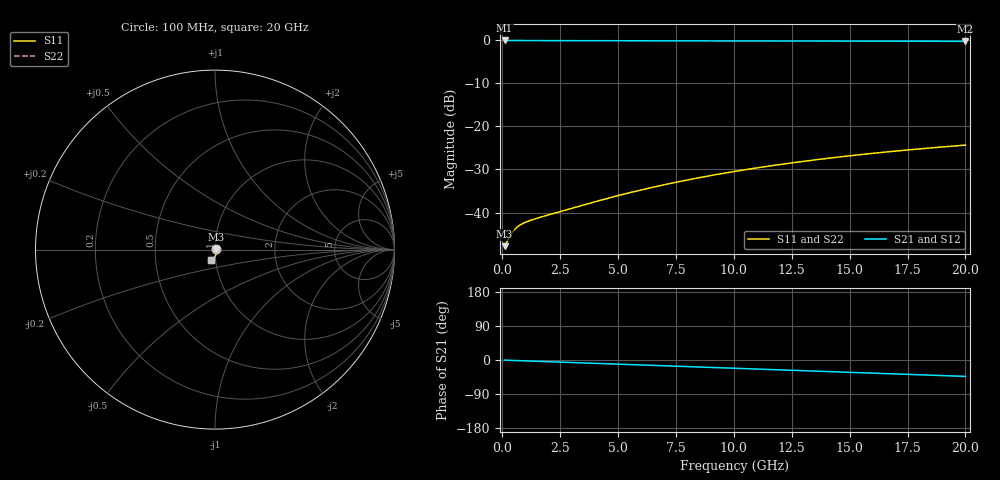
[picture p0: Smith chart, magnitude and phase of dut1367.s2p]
! Touchstone file exported from HFSS 2026.1.0
!  File:  C:/ffzhzh/LocalFiles/Ansys_Project_Files/temp_train_BSMRDL_1367_1783179288_55132.aedt
!  Generated:  11:36:00 PM Jul  4, 2026
!  Design:  BSMRDL
!  Project:  temp_train_BSMRDL_1367_1783179288_55132
! Variables:
!  h_bsmrdl = 2.64um
!  h_ox = 20um
!  h_rdl = 5um
!  h_sub = 80um
!  h_tmrdl = 5um
!  h_tsv = 80um
!  h_via = 3um
!  l_bsmrdl = 761.83um
!  l_sub = 1161.83um
!  l_tmrdl = 200um
!  m_sub = 200um
!  pitch = 31.3um
!  r_tsv = 6um
!  s_tmrdl = 10um
!  w_bsmrdl = 28.22um
!  w_sub = 500um
!  w_tmrdl = 12um
!  x_tsv_center1 = 206um
!  x_tsv_center2 = 996.05um
!  x_tsv_center3 = 1208.05um
!  x_tsv_center4 = 1998.1um
!  x_tsv_center5 = 2210.1um
!  x_tsv_center6 = 3000.15um
# GHz S MA R 50.000000
! Terminal data exported
! Port[1] = BSM_RDL1_1_T1
! Port[2] = BSM_RDL1_1_T2
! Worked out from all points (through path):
!   200 points, 100 MHz to 20 GHz, reference 50 ohm
!   highest |S21| = -0.03 dB at 100 MHz (marker M1); lowest = -0.2 dB at 20 GHz (marker M2)
!   group delay of S21, straight-line fit = 5.99 ps
!   lowest |S11| = -47.8 dB at 100 MHz (marker M3), VSWR 1.01, Z = 50.4 + j0.062 ohm
!   |S11| at or under -10 dB: start of sweep to end of sweep
!   |S22| runs from -47.8 to -24.3 dB; largest |S21 - S12| = 2.7e-15
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0.1  0.00407 8.7  0.996 -0.3  0.996 -0.3  0.00407 8.7
! Gamma 0 0 0 0
! Port Impedance 50 0 50 0
0.3  0.005165 14.9  0.995 -0.8  0.995 -0.8  0.005166 14.9
0.4  0.005733 13.6  0.9945 -1.0  0.9945 -1.0  0.005733 13.6
0.5  0.006224 11.2  0.9939 -1.3  0.9939 -1.3  0.006224 11.2
0.6  0.006633 8.4  0.9935 -1.5  0.9935 -1.5  0.006633 8.4
0.7  0.006972 5.4  0.9931 -1.7  0.9931 -1.7  0.006972 5.4
0.9  0.007502 -0.5  0.9925 -2.1  0.9925 -2.1  0.007503 -0.5
1.1  0.007913 -5.8  0.9921 -2.6  0.9921 -2.6  0.007914 -5.8
1.5  0.008593 -15.1  0.9916 -3.4  0.9916 -3.4  0.008595 -15.1
3.5  0.01223 -44.3  0.9901 -7.8  0.9901 -7.8  0.01224 -44.2
4.4  0.01426 -52.4  0.9894 -9.8  0.9894 -9.8  0.01427 -52.4
5.2  0.01622 -58.2  0.9887 -11.5  0.9887 -11.5  0.01623 -58.2
6  0.0183 -63.2  0.988 -13.3  0.988 -13.3  0.01832 -63.1
6.8  0.02049 -67.5  0.9872 -15.0  0.9872 -15.0  0.02051 -67.4
8.4  0.0251 -74.8  0.9855 -18.5  0.9855 -18.5  0.02512 -74.7
10.1  0.03024 -81.3  0.9837 -22.2  0.9837 -22.2  0.03027 -81.2
11.7  0.03522 -86.9  0.9819 -25.6  0.9819 -25.6  0.03525 -86.8
13.4  0.04057 -92.4  0.9799 -29.2  0.9799 -29.2  0.04061 -92.2
15  0.0456 -97.2  0.9782 -32.7  0.9782 -32.7  0.04565 -97.1
16.7  0.05087 -102.2  0.9763 -36.3  0.9763 -36.3  0.05093 -102.0
18.3  0.05571 -106.7  0.9746 -39.7  0.9746 -39.7  0.05577 -106.5
20  0.06065 -111.4  0.9728 -43.3  0.9728 -43.3  0.06072 -111.2
